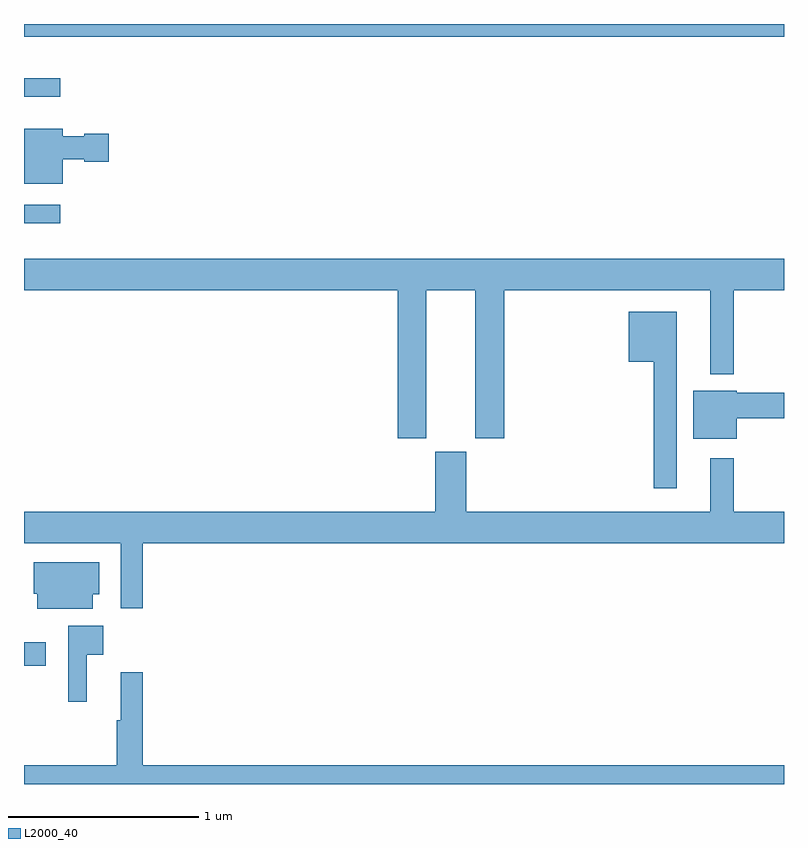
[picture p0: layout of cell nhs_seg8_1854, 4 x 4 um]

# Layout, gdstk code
import gdstk
lib = gdstk.Library(unit=1e-6, precision=1e-09)
def R(c, l, rs):  # rectangles x0, y0, x1, y1
    for r in rs: c.add(gdstk.rectangle(r[:2], r[2:], *l))
def P(c, l, *ps):  # polygons
    for p in ps: c.add(gdstk.Polygon(p, *l))
L2000_40 = (2000, 40)

nhs_seg8_1854 = lib.new_cell('nhs_seg8_1854')
R(nhs_seg8_1854, L2000_40, [(229,1114.523,229.114,1114.645), (229,1116.851,229.192,1116.948), (229,1117.517,229.192,1117.614), (229,1117.832,233,1117.9)])
P(nhs_seg8_1854, L2000_40, [(229.204,1117.187),(229.317,1117.187),(229.317,1117.175),(229.447,1117.175),(229.447,1117.322),(229.317,1117.322),(229.317,1117.309),(229.204,1117.309),(229.204,1117.348),(229,1117.348),(229,1117.058),(229.204,1117.058)],
  [(231.118,1116.5),(231.374,1116.5),(231.374,1115.721),(231.527,1115.721),(231.527,1116.5),(232.613,1116.5),(232.613,1116.056),(232.735,1116.056),(232.735,1116.5),(233,1116.5),(233,1116.664),(229,1116.664),(229,1116.5),(230.966,1116.5),(230.966,1115.721),(231.118,1115.721)],
  [(232.435,1116.385),(232.184,1116.385),(232.184,1116.122),(232.314,1116.122),(232.314,1115.457),(232.435,1115.457)],
  [(232.75,1115.824),(233,1115.824),(233,1115.96),(232.75,1115.96),(232.75,1115.971),(232.523,1115.971),(232.523,1115.717),(232.75,1115.717)],
  [(229.625,1115.168),(233,1115.168),(233,1115.332),(232.735,1115.332),(232.735,1115.614),(232.613,1115.614),(232.613,1115.332),(231.328,1115.332),(231.328,1115.649),(231.164,1115.649),(231.164,1115.332),(229,1115.332),(229,1115.168),(229.509,1115.168),(229.509,1114.824),(229.625,1114.824)],
  [(229.363,1114.898),(229.396,1114.898),(229.396,1115.068),(229.052,1115.068),(229.052,1114.902),(229.07,1114.902),(229.07,1114.823),(229.363,1114.823)],
  [(229.331,1114.58),(229.417,1114.58),(229.417,1114.732),(229.233,1114.732),(229.233,1114.332),(229.331,1114.332)],
  [(233,1114),(229.625,1114),(229.625,1114.489),(229.508,1114.489),(229.508,1114.236),(229.489,1114.236),(229.489,1114),(229,1114),(229,1113.9),(233,1113.9)])

lib.write_gds('nhs_seg8_1854.gds')
